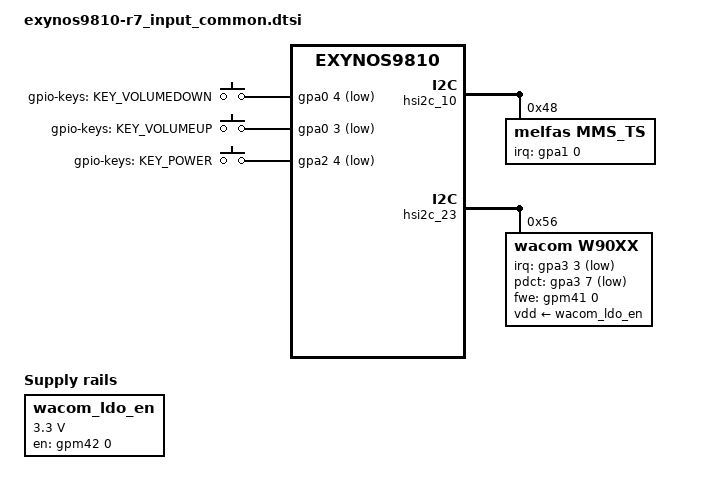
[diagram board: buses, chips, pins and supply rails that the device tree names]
/*
 * SAMSUNG EXYNOS9810 board device tree source
 *
 * Copyright (c) 2017 Samsung Electronics Co., Ltd.
 *		http://www.samsung.com
 *
 * This program is free software; you can redistribute it and/or modify
 * it under the terms of the GNU General Public License version 2 as
 * published by the Free Software Foundation.
*/

#include <dt-bindings/input/input.h>
#include <dt-bindings/interrupt-controller/irq.h>
#include <dt-bindings/gpio/gpio.h>


/ {
	fragment@model {
		target-path = "/";
		__overlay__ {
			gpio_keys {
				status = "okay";
				compatible = "gpio-keys";
				pinctrl-names = "default";
				pinctrl-0 = <&key_voldown &key_volup &key_power>;
				button@1 {
					label = "gpio-keys: KEY_VOLUMEDOWN";
					linux,code = <114>;
					gpios = <&gpa0 4 0xf>;
				};
				button@2 {
					label = "gpio-keys: KEY_VOLUMEUP";
					linux,code = <115>;
					gpios = <&gpa0 3 0xf>;
				};
				button@3 {
					label = "gpio-keys: KEY_POWER";
					linux,code = <116>;
					gpios = <&gpa2 4 0xf>;
					gpio-key,wakeup = <1>;
				};
			};

			wacom_ldo_en: wacom_ldo_en {
				compatible = "regulator-fixed";
				regulator-name = "wacom_3.3v";
				regulator-min-microvolt = <3300000>;
				regulator-max-microvolt = <3300000>;
				gpio = <&gpm42 0 0>;
				enable-active-high;
				regulator-boot-on;
			};
		}; /* end of __overlay__ */
	}; /* end of fragment */
}; /* end of root */

&pinctrl_0 {
	key_voldown: key-voldown {
		samsung,pins = "gpa0-4";
		samsung,pin-function = <0xf>;
		samsung,pin-pud = <0>;
		samsung,pin-drv = <0>;
	};

	key_volup: key-volup {
		samsung,pins = "gpa0-3";
		samsung,pin-function = <0xf>;
		samsung,pin-pud = <0>;
		samsung,pin-drv = <0>;
	};

	key_power: key-power {
		samsung,pins = "gpa2-4";
		samsung,pin-function = <0xf>;
	};

	attn_irq: attn-irq {
		samsung,pins = "gpa1-0";
		samsung,pin-function = <0xf>;
		samsung,pin-pud = <0>;
		samsung,pin-drv = <0>;
	};
	attn_input: attn-input {
		samsung,pins = "gpa1-0";
		samsung,pin-function = <0>;
		samsung,pin-pud = <1>;
	};

	epen_int_active: epen-int-active {
		samsung,pins = "gpa3-3","gpa3-7";
		samsung,pin-function = <0xf>;
		samsung,pin-pud = <0>;
		samsung,pin-drv = <0>;
	};
};

&speedy {
	s2mps18mfd@00 {
		regulators {
			ldo43_reg: LDO43 {
				regulator-name = "tsp_avdd";
				regulator-min-microvolt = <3000000>;
				regulator-max-microvolt = <3000000>;
				regulator-boot-on;
			};
		};
	};
};

&hsi2c_10 {
	#address-cells = <1>;
	#size-cells = <0>;
	status = "okay";
	mms_ts@48 {
		compatible = "melfas,mms_ts";
		reg = <0x48>;
		pinctrl-names = "on_state", "off_state";
		pinctrl-0 = <&attn_irq>;
		pinctrl-1 = <&attn_input>;
		melfas,vdd_en = "tsp_avdd";
		/*melfas,io_en = "tsp_io";*/
		melfas,irq-gpio = <&gpa1 0 0>;
		melfas,area-size = <133 266 341>; /* indicator: 24dp navigator:48dp edge:60px dpi=320 */
		melfas,max_x_y = <4095 4095>;	/* x & y */
		melfas,display_resolution = <1080 2400>;
		melfas,node_info = <16 34 0>;	/* x & y & key */
		melfas,event_info = <10 16 1>;		/* event format & event size */
		melfas,fod_info = <16 12 24>;	/* tx, rx, vi size */
		melfas,support_lpm = "true";
		melfas,fw_name = "tsp_melfas/mss100_r7.fw";
		support_ear_detect_mode;
		enable_settings_aot;
		support_fod;
		support_open_short_test;
		melfas,regulator_boot_on;
	};
};

&hsi2c_23 {
	status = "okay";
	samsung,reset-before-trans;
	wacom@56 {
		compatible = "wacom,w90xx";
		reg = <0x56>;
		pinctrl-names = "default";
		pinctrl-0 = <&epen_int_active>;
		vdd-supply = <&wacom_ldo_en>;
		/* gpios */
		wacom,irq-gpio = <&gpa3 3 1>;
		wacom,pdct-gpio = <&gpa3 7 1>;
		wacom,fwe-gpio = <&gpm41 0 0>;
		wacom,irq_type = <IRQ_TYPE_LEVEL_LOW>;
		wacom,pdct_type = <IRQ_TYPE_EDGE_BOTH>;
		/* features */
		wacom,boot_addr = <0x09>;
		wacom,origin = <0 0>; /* x y */
		wacom,max_coords = <15456 6955>; /* x y */
		wacom,max_pressure = <4095>;
		wacom,max_x_tilt = <63 63>;
		wacom,max_height = <255>;
		wacom,invert = <1 0 1>; /* x y switch */
		wacom,fw_path = "epen/w9018_r7.fw";
		wacom,fw_fac_path = "epen/w9018_r7_garage.fw", "";	/* "epen/w9018_r7_unit.fw"; */
		wacom,support_aop_mode = "1"; /* S-note want to check to use aop */
		wacom,use_garage;
	};
};
